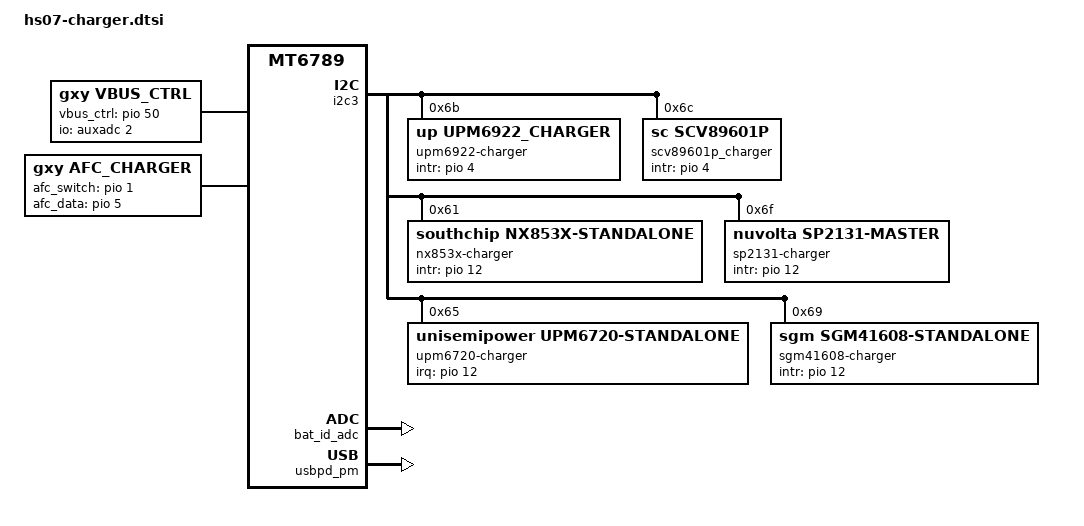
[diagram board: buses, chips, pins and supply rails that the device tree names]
#include <dt-bindings/iio/mt635x-auxadc.h>
#include "mediatek/bat_setting/mt6789_battery_prop_hs07.dtsi"

/*HS07 code for HS07-29 by xiongxiaoliang at 20250226 start*/
&thermal_zones {
    usb_therm: usb_therm {
        polling-delay = <0>; /* milliseconds */
        polling-delay-passive = <0>; /* milliseconds */
        thermal-sensors = <&tboard_thermistor3>;
    };
    flash_led: flash_led {
        polling-delay = <0>; /* milliseconds */
        polling-delay-passive = <0>; /* milliseconds */
        thermal-sensors = <&tboard_thermistor4>;
    };
};
/*HS07 code for HS07-29 by xiongxiaoliang at 20250226 end*/

&lk_charger {
    max_charger_voltage = <10400000>;
    ac_charger_current = <2000000>;
    ac_charger_input_current = <1500000>;

    /* battery temperature protection */
    /*HS07 code for HS07-2386 by lina at 20250429 start*/
    temp_t4_threshold = <52>;
    temp_t3_threshold = <42>;
    temp_t2_threshold = <15>;
    temp_t1_threshold = <8>;
    temp_t0_threshold = <0>;
    temp_t0_t1_charger_current = <420000>;
    temp_t1_t2_charger_current = <1320000>;
    /*HS07 code for HS07-2386 by lina at 20250429 end*/
    /* HST11 code for AX7800A-787 by wenyaqi at 20250519 start */
    enable_custom_jeita;
    /* HST11 code for AX7800A-787 by wenyaqi at 20250519 end */
};

&charger {
    io-channels = <&pmic_auxadc AUXADC_VCDT>;
    io-channel-names = "pmic_vbus";
    /*HS07 code for HS07-200 by xiongxiaoliang at 20250325 start*/
    max_charger_voltage = <10400000>;
    /*HS07 code for HS07-200 by xiongxiaoliang at 20250325 end*/
    max_fast_charger_voltage = <10400000>;
    charger_voltage_drop = <700000>;
    min_charger_voltage = <4600000>;

    /* common */
    battery_cv = <4450000>;

    /* charging current */
    usb_charger_current = <500000>;
    ac_charger_current = <2000000>;
    ac_charger_input_current = <1550000>;
    charging_host_charger_current = <1500000>;

    /* dynamic mivr */
    enable_dynamic_mivr;
    min_charger_voltage_1 = <4500000>;
    min_charger_voltage_2 = <4300000>;
    max_dmivr_charger_current = <1800000>;

    /* fast charging algo support indicator */
    enable_fast_charging_indicator;

    /* sw jeita */
    enable_sw_jeita;
    jeita_temp_above_t4_cv = <4250000>;
    jeita_temp_t3_to_t4_cv = <4250000>;
    jeita_temp_t2_to_t3_cv = <4450000>;
    jeita_temp_t1_to_t2_cv = <4450000>;
    jeita_temp_t0_to_t1_cv = <4450000>;
    jeita_temp_below_t0_cv = <4450000>;

    jeita_temp_above_t4_cur = <0>;
    jeita_temp_t3_to_t4_cur = <3000000>;
    jeita_temp_t2_to_t3_cur = <3000000>;
    jeita_temp_t1_to_t2_cur = <1320000>;
    jeita_temp_t0_to_t1_cur = <420000>;
    jeita_temp_below_t0_cur = <0>;
    temp_t4_thres = <52>;
    temp_t4_thres_minus_x_degree = <50>;
    temp_t3_thres = <42>;
    temp_t3_thres_minus_x_degree = <40>;
    temp_t2_thres = <15>;
    temp_t2_thres_plus_x_degree = <17>;
    temp_t1_thres = <8>;
    temp_t1_thres_plus_x_degree = <10>;
    temp_t0_thres = <0>;
    temp_t0_thres_plus_x_degree = <2>;
    temp_neg_10_thres = <0>;

    /* HST11 code for AX7800A-494 by wenyaqi at 20250424 start */
    /* sw thermal */
    enable_custom_thermal_buck;
    thermal_lcd_on_buck_cur = <700000 600000 500000>;
    thermal_lcd_off_buck_cur = <2300000 1800000 1500000>;
    /* HST11 code for AX7800A-494 by wenyaqi at 20250424 end */

    gxy-batt-aging-enable;
    gxy,cv-ranges = <0 199 4450000
                200 249 4430000
                250 299 4410000
                300 1000 4390000
                1001 9999 4340000>;
};

&pdc {
    pd_vbus_upper_bound = <10000000>;
    pd_stop_battery_soc = <100>;
    /* single charger */
    sc_input_current = <1700000>;
    sc_charger_current = <2700000>;
    /* dual charger */
    vbat_threshold = <4450>;
};

&i2c3 {
    upm6922-charger {
        compatible = "up,upm6922_charger";
        status = "okay";
        reg = <0x6b>;
        up,intr_gpio = <&pio 4 0>;

        up,upm6922,ichg = <500>;              /* unit:1mA */
        up,upm6922,iprechg = <420>;            /* unit:1mA */
        up,upm6922,iterm = <240>;              /* unit:1mA */
        up,upm6922,vreg = <4400>;              /* unit:1mV */
        up,upm6922,vindpm = <4600>;            /* unit:1mV */
        up,upm6922,boostv = <5000>;            /* unit:1mV */
        up,upm6922,boosti = <1200>;            /* unit:1mA */
        up,upm6922,vac-ovp = <11000>;          /* unit:1mV */
        //up,upm6922,continuous-adc-enable;
    };

    /* HS07 code for SR-AL7761A-01-164 by lina at 20250314 start */
    scv89601p_charger: scv89601p@6C {
        compatible = "sc,scv89601p";
        reg = <0x6C>;
        status = "okay";
        scv89601p,intr-gpio = <&pio 4 0>;
        scv89601p,charger_name = "primary_chg";
        scv89601p,pfm-dis = <0>; /*0: enable, 1: disable*/
        scv89601p,vsys-min = <5>; /*0: 2.6V, 1: 2.8V, 2: 3.0V, 
                    3: 3.2V, 4: 3.4V, 5: 3.5V, 6:3.6V, 7: 3.7V*/
        scv89601p,vbat-low-otg = <1>; /*0: 2.6V, 1: 2.8V*/
        scv89601p,ipre-chg = <2>; /*60 + val * 60, unit:mA*/
        scv89601p,itrickle = <0>; /*0: 50mA, 1: 100mA*/
        /* HS07 code for HS07-406 by lina at 20250407 start */
        scv89601p,itermination = <3>; /*60 + val * 60, unit:mA*/
        /* HS07 code for HS07-406 by lina at 20250407 end */
        scv89601p,vbat-volt = <67>; /*3530 + val * 10, unit:mV*/
        scv89601p,vrechg-volt = <0>; /*0:100mV, 1:200mV, 2:300mA 3:400mA*/
        scv89601p,en-termination = <1>; /*0: disable, 1: enable*/
        scv89601p,hvdcp-en = <0>; /*0: disable, 1: enable*/
        scv89601p,wdt-timer = <0>; /*0: disable, 1: 40s, 2: 80s, 3：160s*/
        scv89601p,en-safety-timer = <1>; /*0: disable, 1: enable*/
        scv89601p,charge-timer = <3>; /*0: 5hrs, 1: 8hrs, 2: 12hrs, 3: 24hrs*/
        scv89601p,vac-ovp = <3>; /*0: 6V, 1: 11V, 2: 12V, 3: 14V*/
        scv89601p,iboost = <2>; /*0:500mA, 1:0.9A, 2:1.3A, 3:1.5 4:2.1A, 5:2.5A, 6:2.9A, 7:3A*/
        scv89601p,vboost = <5100>; /*unit:mV*/
        scv89601p,vindpm-track = <0>; /*0: disable, 1:200mV, 2:250mV, 3:300mV*/
        scv89601p,vindpm-int-mask = <1>; /*0: not mask, 1: mask*/
        scv89601p,iindpm-int-mask = <1>; /*0: not mask, 1: mask*/
        scv89601p,auto-dpdm-en = <0>; /*0: disale, 1: enable*/
        scv89601p,iindpm-update-dis = <1>; /*0: enable 1:disable*/
    };
  /* HS07 code for SR-AL7761A-01-164 by lina at 20250314 end */

    nx853x-charger@61{
        compatible = "southchip,nx853x-standalone";
        reg = <0x61>;
        nx853x,intr_gpio = <&pio 12 0x0>; /* GPIO */
        charger_name = "primary_dvchg";
        charger_name_v4_19 = "primary_divider_chg";

        sc,nx853x,vbat-ovp-dis = <0>;
        sc,nx853x,vbat-ovp = <80>; /*3840 + val * 10*/
        sc,nx853x,ibat-ocp-dis = <0>;
        sc,nx853x,ibat-ocp = <82>; /*val * 100*/
        sc,nx853x,vbus-ovp-dis = <0>;
        sc,nx853x,vbus-ovp = <7>; /*9250 + val * 250*/
        sc,nx853x,vac-ovp-dis = <0>;
        sc,nx853x,vac-ovp = <1>; /*0:6.5V 1:11V 2:12V 3:13V 4:14V 5~7:15V*/
        sc,nx853x,ibus-ocp-dis = <0>;
        sc,nx853x,ibus-ocp = <100>; /*val * 50*/
        sc,nx853x,pmid2out-ovp-dis = <0>;
        /* A06 code for AL7160A-2699 by jiashixian at 20240607 start*/
        sc,nx853x,pmid2out-ovp = <7>; /*400 + val * 100*/
        /* A06 code for AL7160A-2699 by jiashixian at 20240607 end*/
        sc,nx853x,pmid2out-uvp-dis = <0>;
        /* A06 code for AL7160A-2699 by jiashixian at 20240607 start*/
        sc,nx853x,pmid2out-uvp = <7>; /*100 + val * 50*/
        /* A06 code for AL7160A-2699 by jiashixian at 20240607 end*/
        sc,nx853x,ibatreg = <0>; /*200 + val * 100*/
        sc,nx853x,ibusreg = <0>; /*100 + val * 50*/
        sc,nx853x,vbatreg = <0>; /*50 + val * 50*/
        sc,nx853x,tdiereg = <1>; /*0:90°C 1:100°C 2:110°C 3:120°C*/
        sc,nx853x,them-flt = <24>; /*val * 25*/
        sc,nx853x,ibat-sns-res = <1>; /*0:2hmo 1:5hmo*/
        sc,nx853x,pmid-pd-en = <0>;
        sc,nx853x,vbus-pd-en = <0>;
        sc,nx853x,work-mode = <0>; /*0: 2:1charge   1: 1:1charge 2: 1:2converte 3: 1:1converte*/
        sc,nx853x,ss-timeout = <7>; /*0:disable 1:10ms 2:20ms 3:400ms, 4:80ms 5:320ms 6:1.28s 7:10.24s*/
        sc,nx853x,wd-timeout-dis = <1>;
        sc,nx853x,wd-timeout = <0>; /*0:0.5s 1:1s 2:5s 3:30s*/
        sc,nx853x,vout-ovp-dis = <0>;
        sc,nx853x,vout-ovp = <3>; /*4700 + val * 100*/
        sc,nx853x,fsw-freq = <7>; /*500 + val * 100*/
        sc,nx853x,pin-diag-fall-dis = <0>;
        sc,nx853x,them-flt-dis = <1>;
        sc,nx853x,tshut-dis = <1>;
        sc,nx853x,vbus-in-range-dis = <0>;
        sc,nx853x,ibus-ucp-dis = <0>;
        sc,nx853x,ibat-reg-dis = <1>;
        sc,nx853x,ibus-reg-dis = <1>;
        sc,nx853x,vbat-reg-dis = <1>;
        sc,nx853x,tdie-reg-dis = <1>;
        sc,nx853x,ibat-ocp-dg = <0>; /*0:160us 1:80us 2:320us 3:5ms*/
        sc,nx853x,ibus-ucp-fall-dg = <1>; /*0:8us 1:5ms 2:40ms 3:160ms*/
        sc,nx853x,ibus-ocp-dg = <0>; /*0:160us 1:80us 2:320us 3:5ms*/
        sc,nx853x,vbat-ovp-dg = <0>; /*0:8us 1:160us 2:320us 3:5ms*/
    };

    /*HS07 code for SR-AL7761A-01-167 by yexuedong at 20250307 start*/
    /*HS07 code for HS07-191 by yexuedong at 20250326 start*/
    sp2131-charger@6F{
        compatible = "nuvolta,sp2131-master";
        reg = <0x6F>;
        status = "okay";
        sp2131,intr_gpio = <&pio 12 0x0>;//<&pio 11 0>;

        nuvolta,sp2131,bat-ovp-disable = <0>;
        nuvolta,sp2131,bat-ocp-disable = <0>;
        nuvolta,sp2131,bus-ocp-disable = <0>;
        nuvolta,sp2131,bat-ovp-threshold = <4600>;
        nuvolta,sp2131,bat-ocp-threshold = <7000>;
        nuvolta,sp2131,bus-ovp-threshold = <11000>;
        nuvolta,sp2131,bus-ocp-threshold = <3500>;
        nuvolta,sp2131,ac-ovp-threshold = <11000>;
    };
    /*HS07 code for HS07-191 by yexuedong at 20250326 end*/
    /*HS07 code for SR-AL7761A-01-167 by yexuedong at 20250307 end*/

    /*HS07 code for HS07-215 by huofudong at 20250326 start*/
    upm6720-charger@65{
        status = "okay";
        compatible = "unisemipower,upm6720-standalone";
        reg = <0x65>;
        upm6720,irq-gpio = <&pio 12 0x0>;
        upm6720,bat-ovp-disable = <0>;
        upm6720,bat-ocp-disable  = <0>;
        // upm6720,bus-ucp-disable  = <0>;
        // upm6720,bus-rcp-disable  = <0>;
        upm6720,vout-ovp-disable = <0>;
        upm6720,tdie-flt-disable;
        upm6720,tsbus-flt-disable;
        upm6720,tsbat-flt-disable;
        upm6720,wdt-disable;
        upm6720,vbus-errhi-disable;
        upm6720,bat-ovp-threshold = <4525>;             /* unit: 1mV */
        upm6720,bat-ocp-threshold = <8200>;             /* unit: 1mA */
        upm6720,bus-ovp-threshold = <11000>;            /* unit: 1mV */
        upm6720,bus-ocp-threshold = <5100>;             /* unit: 1mA */
        upm6720,bus-ucp-threshold = <250>;              /* unit: 1mA */
        upm6720,bus-rcp-threshold = <300>;              /* unit: 1mA */
        upm6720,vac1-ovp-threshold = <12000>;           /* unit: 1mV */
        upm6720,vac2-ovp-threshold = <12000>;           /* unit: 1mV */
        upm6720,vout-ovp-threshold = <5000>;            /* unit: 1mV */
        upm6720,tdie-flt-threshold = <140>;             /* unit: 1℃ */
        upm6720,tsbus-flt-threshold = <4102>;           /* unit: 0.001% */
        upm6720,tsbat-flt-threshold = <4102>;           /* unit: 0.001% */

        // upm6720,bat-ovp-mask;
        // upm6720,bat-ocp-mask;
        // upm6720,bus-ovp-mask;
        // upm6720,bus-ocp-mask;
        // upm6720,bus-ucp-mask;
        // upm6720,bus-rcp-mask;
        // upm6720,vout-ovp-mask;
        // upm6720,vac1-ovp-mask;
        // upm6720,vac2-ovp-mask;
        // upm6720,vout-present-mask;
        // upm6720,vac1-present-mask;
        // upm6720,vac2-present-mask;
        // upm6720,vbus-present-mask;
        // upm6720,acrb1-config-mask;
        // upm6720,acrb2-config-mask;
        // upm6720,cfly-short-mask;
        // upm6720,adc-done-mask;
        // upm6720,ss-timeout-mask;
        // upm6720,tsbus-flt-mask;
        // upm6720,tsbat-flt-mask;
        // upm6720,tdie-flt-mask;
        // upm6720,wd-mask;
        // upm6720,regn-good-mask;
        // upm6720,conv-active-mask;
        // upm6720,vbus-errhi-mask;
        // upm6720,bat-ovp-alm-disable;
        // upm6720,bat-ocp-alm-disable;
        // upm6720,bat-ucp-alm-disable;
        // upm6720,bus-ovp-alm-disable;
        // upm6720,tdie-alm-disable;
        upm6720,bat-ovp-alm-threshold = <4510>;         /* unit: 1mV */
        upm6720,bat-ocp-alm-threshold = <8000>;         /* unit: 1mA */
        upm6720,bat-ucp-alm-threshold = <0>;            /* unit: 1mA */
        upm6720,bus-ovp-alm-threshold = <11000>;        /* unit: 1mV */
        upm6720,bus-ocp-alm-threshold = <4000>;         /* unit: 1mA */
        upm6720,tdie-alm-threshold = <125>;             /* unit: 1℃ */
        // upm6720,bat-ovp-alm-mask;
        // upm6720,bat-ocp-alm-mask;
        // upm6720,bat-ucp-alm-mask;
        // upm6720,bus-ovp-alm-mask;
        // upm6720,bus-ocp-alm-mask;
        // upm6720,tsbus-tsbat-alm-mask;
        // upm6720,tdie-alm-mask;
        // upm6720,bus-pulldown-en;
        // upm6720,vac1-pulldown-en;
        // upm6720,vac2-pulldown-en;
        upm6720,sense-resistor-mohm = <5>;             /* unit: 1mohm */
        upm6720,ss-timeout = <10000>;                  /* unit: 1ms */
        upm6720,wdt-set = <30000>;                     /* unit: 1ms */
        upm6720,chg-config-1 = <1>;
        upm6720,fsw-set = <500>;
        upm6720,freq-shift = <0>;
        upm6720,ibus-ucp-fall-dg-sel = <0>;
        upm6720,adc-enable;
        upm6720,adc-rate = <0>;
        upm6720,adc-avg = <0>;
        upm6720,adc-avg-init = <0>;
        upm6720,adc-sample-bit = <0>;
        // upm6720,ibus-adc-disable;
        // upm6720,vbus-adc-disable;
        // upm6720,vac1-adc-disable;
        // upm6720,vac2-adc-disable;
        // upm6720,vout-adc-disable;
        // upm6720,vbat-adc-disable;
        // upm6720,ibat-adc-disable;
        // upm6720,tsbus-adc-disable;
        // upm6720,tsbat-adc-disable;
        // upm6720,tdie-adc-disable;
    };
    /*HS07 code for HS07-215 by huofudong at 20250326 end*/

    /*HS07 code for HS07-2963 by yexuedong at 20250515 start*/
    sgm41608-charger@69{
        status = "okay";
        compatible = "sgm,sgm41608-standalone";
        reg = <0x69>;
        sgm41608,intr_gpio = <&pio 12 0x0>;     //irq num base on hardware design

        sgm,sgm41608,wdt-dis = <1>;
        sgm,sgm41608,vbat-ovp-dis = <0>;
        sgm,sgm41608,ibat-ocp-dis = <0>;
        sgm,sgm41608,ibat-ucp-dis = <0>;
        sgm,sgm41608,vbus-error-low-dis = <0>;
        sgm,sgm41608,vbus-error-high-dis = <0>;

        sgm,sgm41608,vout-ovp-dis = <0>;
        sgm,sgm41608,vbus-ovp-dis = <0>;
        sgm,sgm41608,vac-ovp-dis = <0>;
        sgm,sgm41608,vbus-ucp-dis = <0>;
        sgm,sgm41608,tsbus-flt-dis = <0>;/*0:enable 1:disable*/
        sgm,sgm41608,tsbat-flt-dis = <0>;/*0:enable 1:disable*/

        sgm,sgm41608,vbat-ovp = <0x5A>; //4.74V
        sgm,sgm41608,ibat-ocp  = <0x64>; //10A
        sgm,sgm41608,vac-ovp = <0x1>;//000 = 6.5V,001 = 11V,010 = 12V,011 = 13V,100 = 14V,101 = 15V, 110=16V, 111 = 18V
        sgm,sgm41608,vbus-ovp = <0x3>; // 12V
        sgm,sgm41608,ibus-ocp  = <0x64>; // 5A

        sgm,sgm41608,fsw-set = <2>;/*0:187.5kHz 1:250 2:300 3:375 4:500 5:750 6:1000 7:1500*/
        sgm,sgm41608,wd-timeout = <3>; /*0:0.5s 1:1s 2:2s 3:5s 4:10s 5:20s 6:40s 7:80s*/
        sgm,sgm41608,op-mode = <0>; /*F-2:1, F-1:1, R-1:2, R-1:1*/
        sgm,sgm41608,rsns = <1>; /*0:2mohm 1:5mohm*/
    };
    /*HS07 code for HS07-2963 by yexuedong at 20250515 end*/

};

&odm {
    gxy_psy: gxy_psy {
        compatible = "gxy, gxy_psy";
        status = "okay";

        gxy_battery_ttf: gxy_battery_ttf {
            status = "okay";
            battery,ttf_dcp_charge_current = <1500>;
            battery,ttf_hv_charge_current = <2655>;
            /*HS07 code for HS07-4806 by xiongxiaoliang at 20250630 start*/
            battery,ttf_pd20_charge_current = <3500>;
            /*HS07 code for HS07-4806 by xiongxiaoliang at 20250630 end*/
            battery,ttf_pd25_charge_current = <5000>;
            battery,ttf_pd45_charge_current = <10000>;
            battery,ttf_capacity = <4855>;
            /*fg_current soc cv_time*/
            /*HS07 code for P250522-06366|P250530-06913 by xiongxiaoliang at 20250605 start*/
            battery,cv_data = <
                2916  82  2160
                2510  85  1980
                2100  87  1800
                1750  89  1620
                1430  91  1380
                1184  93  1140
                1039  95  840
                915  97  600
                800  98  360
                700  99  180
                630  100  0
            >;
            /*HS07 code for P250522-06366|P250530-06913 by xiongxiaoliang at 20250605 end*/
        };
    };

    bat_id_adc: bat_id_adc {
        compatible = "gxy, bat_id_adc";
        io-channels = <&auxadc 4>;
        io-channel-names = "gxy-battid";
    };

    vbus_ctrl: vbus_ctrl {
        compatible = "gxy, vbus_ctrl";
        vbus_ctrl_gpio_num = <50>;
        vbus_ctrl_gpio = <&pio 50 0x0>;
        io-channels = <&auxadc 2>;
        io-channel-names = "gxy-usb-therm";
    };

    usbpd_pm {
        compatible = "unisemipower,usbpd-pm";
        pd-bat-volt-max = <4450>;
        pd-bat-curr-max = <6000>;
        pd-bus-volt-max = <14500>;
        pd-bus-curr-max = <2770>;
        /*HS07 code for HS07-389 by xiongxiaoliang at 20250407 start*/
        pd-fc2-taper-curr = <1200>;
        /*HS07 code for HS07-389 by xiongxiaoliang at 20250407 end*/
        pd-fc2-one-step = <1>;
        pd-adapter-min-vol-required = <11000>;
        /*HS07 code for HS07-4806 by xiongxiaoliang at 20250630 start*/
        pd-adapter-min-curr-required = <1500>;
        /*HS07 code for HS07-4806 by xiongxiaoliang at 20250630 end*/
        pd-fc2-min-vbat-for-cp = <3300>;
        pd-fc2-second-cp-enable;
        pd-fc2-disable-sw;
    };

    /* AFC  Fast charging */
    afc_charger: afc_charger {
        compatible = "gxy,afc_charger";
        gauge = <&mtk_gauge>;
        status = "okay";
        /*HS07 code for HS07-38 by xiongxiaoliang at 20250227 start*/
        afc_switch_gpio_num = <1>;
        afc_switch_gpio = <&pio 1 0x0>;
        afc_data_gpio_num = <5>;
        afc_data_gpio = <&pio 5 0x0>;
        /*HS07 code for HS07-38 by xiongxiaoliang at 20250227 end*/
        afc_start_battery_soc = <0>;
        afc_stop_battery_soc = <100>;
        afc_pre_input_current = <500000>;
        afc_charger_input_current = <1700000>;
        /*HS07 code for SR-AL7761A-01-60 by xiongxiaoliang at 20250305 start*/
        afc_charger_current = <3000000>;
        /*HS07 code for SR-AL7761A-01-60 by xiongxiaoliang at 20250305 end*/
        afc_min_charger_voltage = <4600000>;
        vbat_threshold = <4450>;
    };
};
